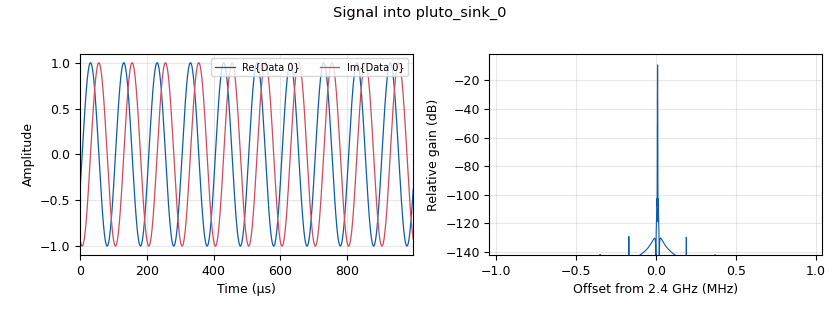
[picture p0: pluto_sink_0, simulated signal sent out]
<?xml version='1.0' encoding='utf-8'?>
<?grc format='1' created='3.7.13'?>
<flow_graph>
<block>
<key>options</key>
<param><key>id</key><value>top_block</value></param>
<param><key>generate_options</key><value>qt_gui</value></param>
</block>
<block>
<key>variable</key>
<param><key>id</key><value>samp_rate</value></param>
<param><key>value</key><value>2084000</value></param>
</block>
<block>
<key>variable_qtgui_range</key>
<param><key>id</key><value>variable_qtgui_range_0</value></param>
<param><key>value</key><value>10000</value></param>
<param><key>label</key><value>"Sine Source Frequency"</value></param>
<param><key>orient</key><value>Qt.Horizontal</value></param>
<param><key>start</key><value>1</value></param>
<param><key>step</key><value>1000</value></param>
<param><key>stop</key><value>100000</value></param>
</block>
<block>
<key>variable_qtgui_range</key>
<param><key>id</key><value>variable_qtgui_range_1</value></param>
<param><key>value</key><value>20</value></param>
<param><key>label</key><value>"RX Manual Gain"</value></param>
<param><key>orient</key><value>Qt.Horizontal</value></param>
<param><key>start</key><value>10</value></param>
<param><key>step</key><value>1</value></param>
<param><key>stop</key><value>71</value></param>
<param><key>rangeType</key><value>int</value></param>
</block>
<block>
<key>analog_sig_source_x</key>
<param><key>id</key><value>analog_sig_source_x_0</value></param>
<param><key>amp</key><value>1</value></param>
<param><key>freq</key><value>variable_qtgui_range_0</value></param>
<param><key>offset</key><value>0</value></param>
<param><key>type</key><value>complex</value></param>
<param><key>samp_rate</key><value>samp_rate</value></param>
<param><key>waveform</key><value>analog.GR_COS_WAVE</value></param>
</block>
<block>
<key>pluto_sink</key>
<param><key>id</key><value>pluto_sink_0</value></param>
<param><key>attenuation</key><value>10.0</value></param>
<param><key>buffer_size</key><value>0x8000</value></param>
<param><key>cyclic</key><value>False</value></param>
<param><key>auto_filter</key><value>True</value></param>
<param><key>filter</key><value></value></param>
<param><key>uri</key><value>'ip:192.168.2.1'</value></param>
<param><key>frequency</key><value>2400000000</value></param>
<param><key>bandwidth</key><value>20000000</value></param>
<param><key>samplerate</key><value>samp_rate</value></param>
</block>
<block>
<key>pluto_source</key>
<param><key>id</key><value>pluto_source_0</value></param>
<param><key>bbdc</key><value>True</value></param>
<param><key>buffer_size</key><value>0x8000</value></param>
<param><key>uri</key><value>'ip:192.168.2.1'</value></param>
<param><key>auto_filter</key><value>False</value></param>
<param><key>filter</key><value></value></param>
<param><key>gain</key><value>"slow_attack"</value></param>
<param><key>frequency</key><value>2400000000</value></param>
<param><key>manual_gain</key><value>variable_qtgui_range_1</value></param>
<param><key>quadrature</key><value>True</value></param>
<param><key>rfdc</key><value>True</value></param>
<param><key>bandwidth</key><value>20000000</value></param>
<param><key>samplerate</key><value>samp_rate</value></param>
</block>
<block>
<key>qtgui_time_sink_x</key>
<param><key>id</key><value>qtgui_time_sink_x_0</value></param>
<param><key>color1</key><value>"blue"</value></param>
<param><key>label1</key><value></value></param>
<param><key>color2</key><value>"red"</value></param>
<param><key>label2</key><value></value></param>
<param><key>size</key><value>1024</value></param>
<param><key>srate</key><value>samp_rate</value></param>
<param><key>type</key><value>complex</value></param>
</block>
<connection><source_block_id>analog_sig_source_x_0</source_block_id><sink_block_id>pluto_sink_0</sink_block_id><source_key>0</source_key><sink_key>0</sink_key></connection>
<connection><source_block_id>pluto_source_0</source_block_id><sink_block_id>qtgui_time_sink_x_0</sink_block_id><source_key>0</source_key><sink_key>0</sink_key></connection>
</flow_graph>
